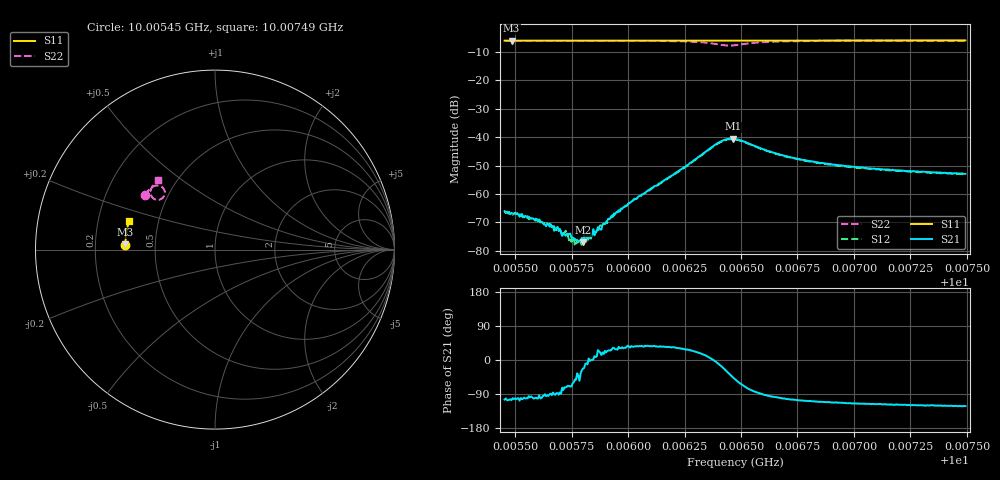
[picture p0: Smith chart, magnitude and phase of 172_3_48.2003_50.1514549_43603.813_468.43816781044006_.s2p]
#  HZ  S  RI  R  50.00
! Rohde & Schwarz Vector Network Analyzer
! Rohde-Schwarz,ZNB20-2Port,1311601062101988,3.16
! Created: UTC 3/20/2024, 11:43:47 AM
! freq[Hz]  re:S11  im:S11  re:S21  im:S21  re:S12  im:S12  re:S22  im:S22
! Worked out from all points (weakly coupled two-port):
!   401 points, 10.00545 GHz to 10.00749 GHz, reference 50 ohm
!   highest |S21| = -40.55 dB at 10.00646 GHz (marker M1); lowest = -77.0 dB at 10.0058 GHz (marker M2)
!   lowest |S11| = -6.0 dB at 10.00548 GHz (marker M3), VSWR 3.00, Z = 16.7 + j1.3 ohm
!   |S11| at or under -10 dB: nowhere
!   |S22| runs from -7.7 to -6.0 dB; largest |S21 - S12| = 0.00059
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1.0005454e10  -0.4998 0.0272  -0.000122 -0.000483  -9.57e-05 -0.000477  -0.3918 0.3049
1.0005484e10  -0.4996 0.0292  -0.000124 -0.000447  -9.55e-05 -0.000448  -0.3906 0.3066
1.0005602e10  -0.4993 0.0367  -6.55e-05 -0.000326  -1.84e-05 -0.000328  -0.3853 0.3135
1.0005648e10  -0.4992 0.0397  -2.44e-05 -0.000284  5.35e-06 -0.00029  -0.3832 0.3165
1.0005693e10  -0.4993 0.0428  -5.3e-06 -0.000221  9.42e-06 -0.000252  -0.3809 0.3193
1.0005709e10  -0.4991 0.0438  5.35e-05 -0.000174  1.74e-05 -0.000176  -0.3802 0.3203
1.0005724e10  -0.499 0.0448  5.57e-05 -0.000174  8.89e-05 -0.000207  -0.3794 0.3212
1.000576e10  -0.4988 0.0471  8.47e-05 -0.000141  9.7e-05 -0.000147  -0.3777 0.3233
1.0005795e10  -0.4988 0.0494  0.000148 -7.78e-05  0.000112 -4.43e-05  -0.3758 0.3255
1.0005801e10  -0.4987 0.0496  0.00013 -5.4e-05  0.000139 -5.98e-05  -0.3752 0.3259
1.0005821e10  -0.4985 0.0511  0.000161 -3.2e-05  0.000181 -2.76e-05  -0.3742 0.3274
1.0005882e10  -0.4984 0.0549  0.000229 5.38e-05  0.000264 9e-05  -0.3705 0.3313
1.0005964e10  -0.4979 0.0602  0.000414 0.000257  0.000417 0.00029  -0.365 0.3369
1.0006137e10  -0.4966 0.0714  0.00124 0.000877  0.00114 0.000916  -0.3489 0.3492
1.0006392e10  -0.4939 0.0876  0.00758 -0.000808  0.00741 -0.000434  -0.2821 0.3311
1.0006428e10  -0.4935 0.0898  0.00816 -0.00373  0.00814 -0.00324  -0.2816 0.3037
1.0006463e10  -0.4932 0.0917  0.00659 -0.00668  0.00677 -0.00612  -0.3012 0.2813
1.0006473e10  -0.4932 0.0922  0.00586 -0.00719  0.00613 -0.0067  -0.309 0.2781
1.0006652e10  -0.4919 0.1036  -0.000713 -0.00515  -0.00049 -0.00507  -0.3595 0.3208
1.0006815e10  -0.49 0.1142  -0.0012 -0.00354  -0.00103 -0.0035  -0.353 0.3448
1.0007157e10  -0.4851 0.1358  -0.00122 -0.00237  -0.00109 -0.00235  -0.3344 0.371
1.0007493e10  -0.4797 0.1566  -0.00118 -0.00192  -0.00107 -0.00195  -0.3169 0.3892
